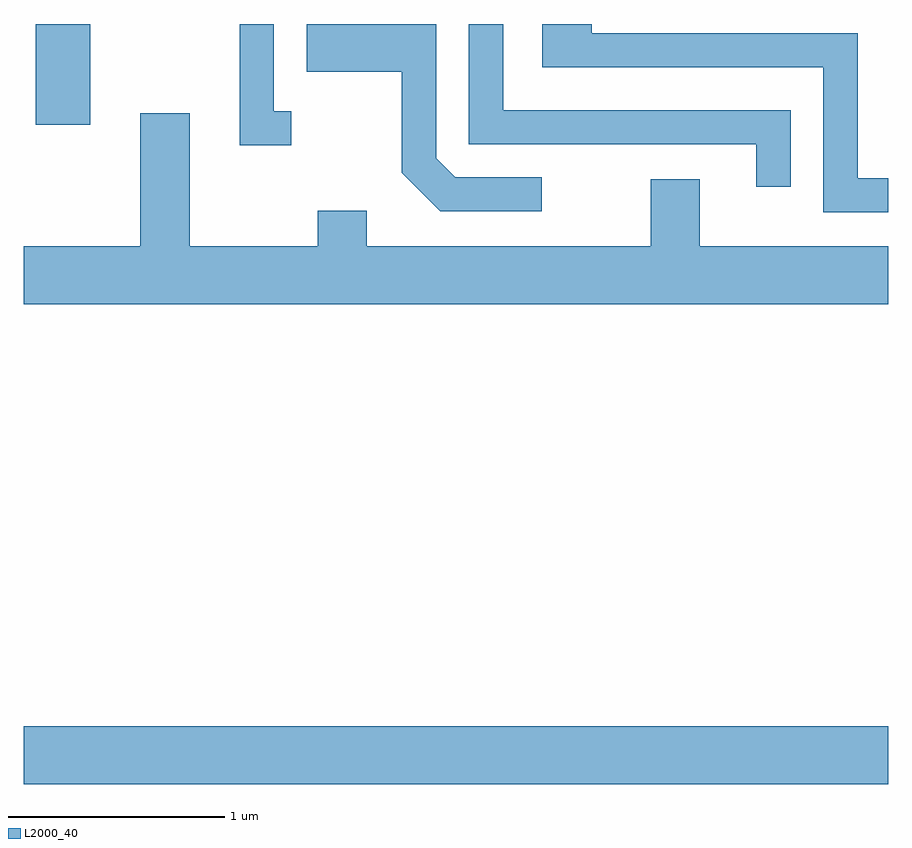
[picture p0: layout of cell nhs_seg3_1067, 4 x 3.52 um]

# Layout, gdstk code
import gdstk
lib = gdstk.Library(unit=1e-6, precision=1e-09)
def R(c, l, rs):  # rectangles x0, y0, x1, y1
    for r in rs: c.add(gdstk.rectangle(r[:2], r[2:], *l))
def P(c, l, *ps):  # polygons
    for p in ps: c.add(gdstk.Polygon(p, *l))
L2000_40 = (2000, 40)

nhs_seg3_1067 = lib.new_cell('nhs_seg3_1067')
R(nhs_seg3_1067, L2000_40, [(215.611,1210.376,219.611,1210.644), (215.666,1213.426,215.919,1213.892)])
P(nhs_seg3_1067, L2000_40, [(216.848,1213.489),(216.769,1213.489),(216.769,1213.892),(216.611,1213.892),(216.611,1213.331),(216.848,1213.331)],
  [(219.611,1213.179),(219.469,1213.179),(219.469,1213.849),(218.239,1213.849),(218.239,1213.892),(218.011,1213.892),(218.011,1213.691),(219.311,1213.691),(219.311,1213.021),(219.611,1213.021)],
  [(219.159,1213.494),(217.829,1213.494),(217.829,1213.892),(217.671,1213.892),(217.671,1213.336),(219.001,1213.336),(219.001,1213.138),(219.159,1213.138)],
  [(218.008,1213.184),(217.607,1213.184),(217.519,1213.272),(217.519,1213.892),(216.921,1213.892),(216.921,1213.671),(217.361,1213.671),(217.361,1213.204),(217.539,1213.026),(218.008,1213.026)],
  [(219.611,1212.864),(218.739,1212.864),(218.739,1213.174),(218.511,1213.174),(218.511,1212.864),(217.199,1212.864),(217.199,1213.029),(216.971,1213.029),(216.971,1212.864),(216.379,1212.864),(216.379,1213.479),(216.151,1213.479),(216.151,1212.864),(215.611,1212.864),(215.611,1212.596),(219.611,1212.596)])

lib.write_gds('nhs_seg3_1067.gds')
